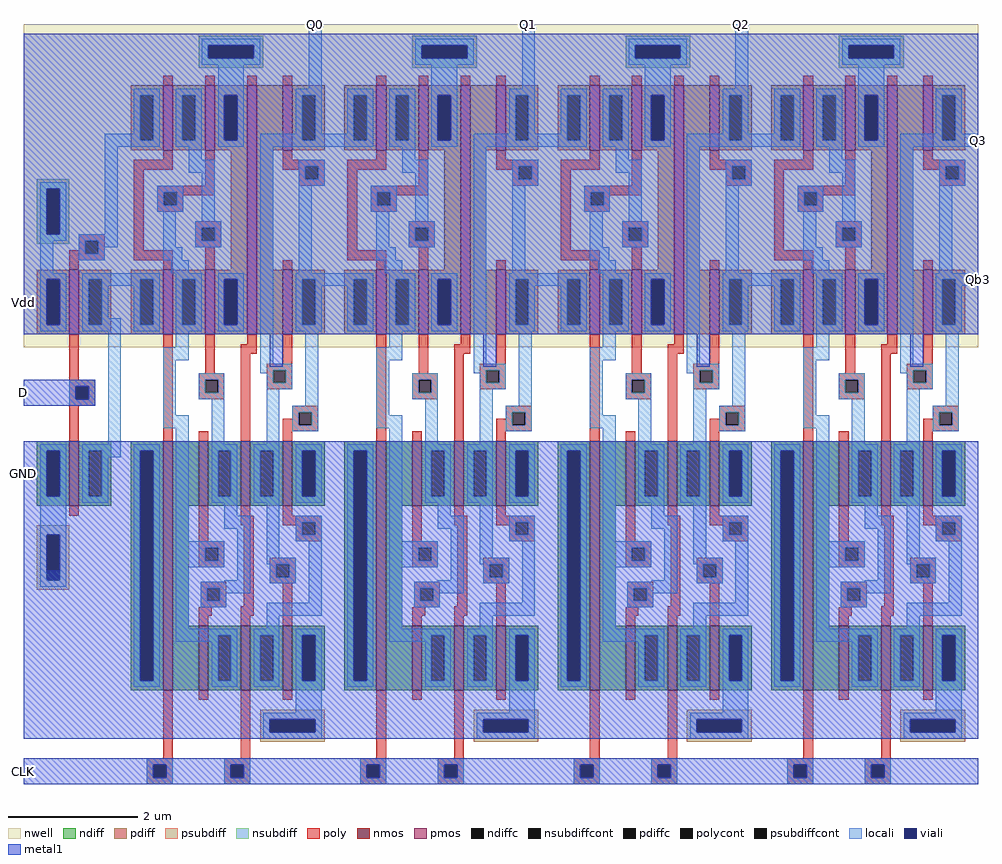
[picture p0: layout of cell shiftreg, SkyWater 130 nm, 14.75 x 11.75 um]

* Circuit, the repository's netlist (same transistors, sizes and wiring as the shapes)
* NGSPICE file created from shiftreg.ext - technology: sky130A

.subckt inverter A Y VP VN
X0 Y A VN VN sky130_fd_pr__nfet_01v8 ad=0.5 pd=3 as=0.5 ps=3 w=1 l=0.15
X1 Y A VP VP sky130_fd_pr__pfet_01v8 ad=0.5 pd=3 as=0.5 ps=3 w=1 l=0.15
.ends

.subckt flipflop D Db CLK Q Qb VP VN
X0 a_212_430# a_260_620# a_260_n1050# VN sky130_fd_pr__nfet_01v8 ad=0.25 pd=1.5 as=0.421 ps=2.93 w=1 l=0.15
X1 VP a_260_620# a_212_430# VP sky130_fd_pr__pfet_01v8 ad=0.488 pd=3.07 as=0.25 ps=1.5 w=1 l=0.15
X2 Qb CLK a_212_430# VN sky130_fd_pr__nfet_01v8 ad=0.25 pd=1.5 as=0.25 ps=1.5 w=1 l=0.15
X3 Qb Q a_520_50# VP sky130_fd_pr__pfet_01v8 ad=0.5 pd=3 as=0.421 ps=2.93 w=1 l=0.15
X4 a_260_n1050# CLK VN VN sky130_fd_pr__nfet_01v8 ad=0.421 pd=2.93 as=1.92 ps=8.7 w=3.85 l=0.15
X5 Q CLK a_260_620# VN sky130_fd_pr__nfet_01v8 ad=0.25 pd=1.5 as=0.25 ps=1.5 w=1 l=0.15
X6 a_520_50# CLK VP VP sky130_fd_pr__pfet_01v8 ad=0.421 pd=2.93 as=0.488 ps=3.07 w=3.85 l=0.15
X7 Q Qb a_520_50# VP sky130_fd_pr__pfet_01v8 ad=0.5 pd=3 as=0.421 ps=2.93 w=1 l=0.15
X8 a_260_620# a_212_430# a_260_n1050# VN sky130_fd_pr__nfet_01v8 ad=0.25 pd=1.5 as=0.421 ps=2.93 w=1 l=0.15
X9 VN Q Qb VN sky130_fd_pr__nfet_01v8 ad=0.5 pd=3 as=0.25 ps=1.5 w=1 l=0.15
X10 VP a_212_430# a_260_620# VP sky130_fd_pr__pfet_01v8 ad=0.488 pd=3.07 as=0.25 ps=1.5 w=1 l=0.15
X11 a_260_620# CLK D VP sky130_fd_pr__pfet_01v8 ad=0.25 pd=1.5 as=0.5 ps=3 w=1 l=0.15
X12 a_212_430# CLK Db VP sky130_fd_pr__pfet_01v8 ad=0.25 pd=1.5 as=0.5 ps=3 w=1 l=0.15
X13 VN Qb Q VN sky130_fd_pr__nfet_01v8 ad=0.5 pd=3 as=0.25 ps=1.5 w=1 l=0.15
.ends


* Top level circuit shiftreg

Xinverter_0 inverter_0/A inverter_0/Y inverter_0/VP VSUBS inverter
Xflipflop_0 Q2 flipflop_3/Qb CLK flipflop_0/Q flipflop_0/Qb inverter_0/VP VSUBS flipflop
Xflipflop_1 inverter_0/A inverter_0/Y CLK Q0 flipflop_2/Db inverter_0/VP VSUBS flipflop
Xflipflop_2 Q0 flipflop_2/Db CLK Q1 flipflop_3/Db inverter_0/VP VSUBS flipflop
Xflipflop_3 Q1 flipflop_3/Db CLK Q2 flipflop_3/Qb inverter_0/VP VSUBS flipflop
.end

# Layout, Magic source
magic
tech sky130A
<< nwell >>
rect -145 955 0 1175
<< locali >>
rect 295 1070 315 1175
rect 625 1075 645 1175
rect 955 1075 975 1175
rect -20 830 0 1005
rect -15 770 0 790
<< metal1 >>
rect -145 955 0 1160
rect -145 70 0 330
rect -145 0 5 40
use flipflop  flipflop_0 ~/documents/madvlsi/madvlsi-fa23/mp2/layout
transform 1 0 945 0 1 670
box 45 -670 385 505
use flipflop  flipflop_1
transform 1 0 -45 0 1 670
box 45 -670 385 505
use flipflop  flipflop_2
transform 1 0 285 0 1 670
box 45 -670 385 505
use flipflop  flipflop_3
transform 1 0 615 0 1 670
box 45 -670 385 505
use inverter  inverter_0
transform 1 0 -75 0 1 430
box -70 -130 85 525
<< labels >>
rlabel space -145 605 -145 605 7 D
rlabel space -145 480 -145 480 7 GND
rlabel metal1 -145 20 -145 20 7 CLK
rlabel space -145 745 -145 745 7 Vdd
rlabel locali 305 1175 305 1175 1 Q0
rlabel locali 635 1175 635 1175 1 Q1
rlabel locali 965 1175 965 1175 1 Q2
rlabel space 1330 995 1330 995 3 Q3
rlabel space 1330 780 1330 780 3 Qb3
<< end >>

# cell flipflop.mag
magic
tech sky130A
<< nwell >>
rect 45 5 385 505
<< nmos >>
rect 115 -525 130 -140
rect 170 -240 185 -140
rect 235 -240 250 -140
rect 300 -240 315 -140
rect 170 -525 185 -425
rect 235 -525 250 -425
rect 300 -525 315 -425
<< pmos >>
rect 115 310 130 410
rect 180 310 195 410
rect 115 25 130 125
rect 180 25 195 125
rect 245 25 260 410
rect 300 310 315 410
rect 300 25 315 125
<< ndiff >>
rect 65 -155 115 -140
rect 65 -510 80 -155
rect 100 -510 115 -155
rect 65 -525 115 -510
rect 130 -240 170 -140
rect 185 -155 235 -140
rect 185 -225 200 -155
rect 220 -225 235 -155
rect 185 -240 235 -225
rect 250 -155 300 -140
rect 250 -225 265 -155
rect 285 -225 300 -155
rect 250 -240 300 -225
rect 315 -155 365 -140
rect 315 -225 330 -155
rect 350 -225 365 -155
rect 315 -240 365 -225
rect 130 -425 155 -240
rect 130 -525 170 -425
rect 185 -440 235 -425
rect 185 -510 200 -440
rect 220 -510 235 -440
rect 185 -525 235 -510
rect 250 -440 300 -425
rect 250 -510 265 -440
rect 285 -510 300 -440
rect 250 -525 300 -510
rect 315 -440 365 -425
rect 315 -510 330 -440
rect 350 -510 365 -440
rect 315 -525 365 -510
<< pdiff >>
rect 65 395 115 410
rect 65 325 80 395
rect 100 325 115 395
rect 65 310 115 325
rect 130 395 180 410
rect 130 325 145 395
rect 165 325 180 395
rect 130 310 180 325
rect 195 395 245 410
rect 195 325 210 395
rect 230 325 245 395
rect 195 310 245 325
rect 220 125 245 310
rect 65 110 115 125
rect 65 40 80 110
rect 100 40 115 110
rect 65 25 115 40
rect 130 110 180 125
rect 130 40 145 110
rect 165 40 180 110
rect 130 25 180 40
rect 195 110 245 125
rect 195 40 210 110
rect 230 40 245 110
rect 195 25 245 40
rect 260 310 300 410
rect 315 395 365 410
rect 315 325 330 395
rect 350 325 365 395
rect 315 310 365 325
rect 260 125 285 310
rect 260 25 300 125
rect 315 110 365 125
rect 315 40 330 110
rect 350 40 365 110
rect 315 25 365 40
<< ndiffc >>
rect 80 -510 100 -155
rect 200 -225 220 -155
rect 265 -225 285 -155
rect 330 -225 350 -155
rect 200 -510 220 -440
rect 265 -510 285 -440
rect 330 -510 350 -440
<< pdiffc >>
rect 80 325 100 395
rect 145 325 165 395
rect 210 325 230 395
rect 80 40 100 110
rect 145 40 165 110
rect 210 40 230 110
rect 330 325 350 395
rect 330 40 350 110
<< psubdiff >>
rect 265 -570 365 -555
rect 265 -590 280 -570
rect 350 -590 365 -570
rect 265 -605 365 -590
<< nsubdiff >>
rect 170 472 270 487
rect 170 452 185 472
rect 255 452 270 472
rect 170 437 270 452
<< psubdiffcont >>
rect 280 -590 350 -570
<< nsubdiffcont >>
rect 185 452 255 472
<< poly >>
rect 115 410 130 425
rect 180 410 195 425
rect 245 410 260 425
rect 300 410 315 425
rect 115 295 130 310
rect 70 280 130 295
rect 70 155 85 280
rect 180 255 195 310
rect 106 245 195 255
rect 106 225 116 245
rect 136 240 195 245
rect 136 225 146 240
rect 106 215 146 225
rect 165 190 205 200
rect 165 170 175 190
rect 195 170 205 190
rect 165 160 205 170
rect 70 140 130 155
rect 115 125 130 140
rect 180 125 195 160
rect 300 295 315 310
rect 300 285 365 295
rect 300 280 335 285
rect 325 265 335 280
rect 355 265 365 285
rect 325 255 365 265
rect 300 125 315 140
rect 115 -140 130 25
rect 180 -35 195 25
rect 245 10 260 25
rect 235 -5 260 10
rect 170 -45 210 -35
rect 170 -65 180 -45
rect 200 -65 210 -45
rect 170 -75 210 -65
rect 170 -140 185 -125
rect 235 -140 250 -5
rect 300 -20 315 25
rect 275 -30 315 -20
rect 275 -50 285 -30
rect 305 -50 315 -30
rect 275 -60 315 -50
rect 315 -95 355 -85
rect 315 -105 325 -95
rect 300 -115 325 -105
rect 345 -115 355 -95
rect 300 -125 355 -115
rect 300 -140 315 -125
rect 170 -295 185 -240
rect 235 -255 250 -240
rect 300 -255 315 -240
rect 235 -270 255 -255
rect 300 -265 360 -255
rect 300 -270 330 -265
rect 170 -305 210 -295
rect 170 -325 180 -305
rect 200 -325 210 -305
rect 170 -335 210 -325
rect 173 -367 213 -357
rect 173 -387 183 -367
rect 203 -387 213 -367
rect 173 -397 213 -387
rect 240 -395 255 -270
rect 320 -285 330 -270
rect 350 -285 360 -265
rect 320 -295 360 -285
rect 280 -330 320 -320
rect 280 -350 290 -330
rect 310 -350 320 -330
rect 280 -360 320 -350
rect 170 -410 190 -397
rect 235 -410 255 -395
rect 170 -425 185 -410
rect 235 -425 250 -410
rect 300 -425 315 -360
rect 115 -630 130 -525
rect 170 -540 185 -525
rect 235 -630 250 -525
rect 300 -540 315 -525
rect 90 -640 130 -630
rect 90 -660 100 -640
rect 120 -660 130 -640
rect 90 -670 130 -660
rect 210 -640 250 -630
rect 210 -660 220 -640
rect 240 -660 250 -640
rect 210 -670 250 -660
<< polycont >>
rect 116 225 136 245
rect 175 170 195 190
rect 335 265 355 285
rect 180 -65 200 -45
rect 285 -50 305 -30
rect 325 -115 345 -95
rect 180 -325 200 -305
rect 183 -387 203 -367
rect 330 -285 350 -265
rect 290 -350 310 -330
rect 100 -660 120 -640
rect 220 -660 240 -640
<< locali >>
rect 175 472 265 482
rect 175 452 185 472
rect 255 452 265 472
rect 175 442 265 452
rect 70 395 110 405
rect 70 335 80 395
rect 45 325 80 335
rect 100 325 110 395
rect 45 315 110 325
rect 135 395 175 405
rect 135 325 145 395
rect 165 325 175 395
rect 135 315 175 325
rect 200 395 240 442
rect 200 325 210 395
rect 230 325 240 395
rect 320 395 360 405
rect 320 335 330 395
rect 200 315 240 325
rect 265 325 330 335
rect 350 335 360 395
rect 350 325 385 335
rect 265 315 385 325
rect 155 295 175 315
rect 155 275 195 295
rect 106 245 146 255
rect 106 225 116 245
rect 136 225 146 245
rect 106 215 146 225
rect 115 160 135 215
rect 175 200 195 275
rect 165 190 205 200
rect 165 170 175 190
rect 195 170 205 190
rect 165 160 205 170
rect 115 140 145 160
rect 128 120 155 140
rect 45 110 110 120
rect 45 100 80 110
rect 70 40 80 100
rect 100 40 110 110
rect 70 30 110 40
rect 135 110 175 120
rect 135 40 145 110
rect 165 40 175 110
rect 135 30 175 40
rect 200 110 240 120
rect 200 40 210 110
rect 230 40 240 110
rect 200 30 240 40
rect 135 5 155 30
rect 115 -15 155 5
rect 115 -100 135 -15
rect 265 -20 285 315
rect 325 285 365 295
rect 325 265 335 285
rect 355 265 365 285
rect 325 255 365 265
rect 325 120 345 255
rect 320 110 385 120
rect 320 40 330 110
rect 350 100 385 110
rect 350 40 360 100
rect 320 30 360 40
rect 265 -30 315 -20
rect 265 -35 285 -30
rect 170 -45 210 -35
rect 170 -65 180 -45
rect 200 -65 210 -45
rect 170 -75 210 -65
rect 115 -120 155 -100
rect 70 -155 110 -145
rect 70 -510 80 -155
rect 100 -510 110 -155
rect 135 -295 155 -120
rect 190 -145 210 -75
rect 275 -50 285 -35
rect 305 -50 315 -30
rect 275 -60 315 -50
rect 275 -145 295 -60
rect 335 -85 355 30
rect 315 -95 355 -85
rect 315 -115 325 -95
rect 345 -115 355 -95
rect 315 -125 355 -115
rect 190 -155 230 -145
rect 190 -225 200 -155
rect 220 -225 230 -155
rect 190 -235 230 -225
rect 255 -155 295 -145
rect 255 -225 265 -155
rect 285 -225 295 -155
rect 255 -235 295 -225
rect 320 -155 360 -145
rect 320 -225 330 -155
rect 350 -225 360 -155
rect 320 -235 360 -225
rect 210 -255 230 -235
rect 210 -275 250 -255
rect 135 -305 210 -295
rect 135 -325 180 -305
rect 200 -325 210 -305
rect 135 -335 210 -325
rect 135 -430 155 -335
rect 230 -355 250 -275
rect 275 -320 295 -235
rect 320 -265 360 -255
rect 320 -285 330 -265
rect 350 -285 360 -265
rect 320 -295 360 -285
rect 275 -330 320 -320
rect 210 -357 250 -355
rect 173 -367 250 -357
rect 280 -350 290 -330
rect 310 -350 320 -330
rect 280 -360 320 -350
rect 173 -387 183 -367
rect 203 -375 250 -367
rect 203 -387 213 -375
rect 173 -397 213 -387
rect 340 -390 360 -295
rect 275 -410 360 -390
rect 275 -430 295 -410
rect 135 -440 230 -430
rect 135 -450 200 -440
rect 70 -520 110 -510
rect 190 -510 200 -450
rect 220 -510 230 -440
rect 190 -520 230 -510
rect 255 -440 295 -430
rect 255 -510 265 -440
rect 285 -510 295 -440
rect 255 -520 295 -510
rect 320 -440 360 -430
rect 320 -510 330 -440
rect 350 -510 360 -440
rect 320 -560 360 -510
rect 270 -570 360 -560
rect 270 -590 280 -570
rect 350 -590 360 -570
rect 270 -600 360 -590
rect 90 -640 130 -630
rect 90 -660 100 -640
rect 120 -660 130 -640
rect 90 -670 130 -660
rect 210 -640 250 -630
rect 210 -660 220 -640
rect 240 -660 250 -640
rect 210 -670 250 -660
<< viali >>
rect 185 452 255 472
rect 210 325 230 395
rect 210 40 230 110
rect 80 -510 100 -155
rect 330 -225 350 -155
rect 330 -510 350 -440
rect 280 -590 350 -570
rect 100 -660 120 -640
rect 220 -660 240 -640
<< metal1 >>
rect 45 472 385 490
rect 45 452 185 472
rect 255 452 385 472
rect 45 395 385 452
rect 45 325 210 395
rect 230 325 385 395
rect 45 110 385 325
rect 45 40 210 110
rect 230 40 385 110
rect 45 25 385 40
rect 280 -25 300 25
rect 45 -155 385 -140
rect 45 -510 80 -155
rect 100 -225 330 -155
rect 350 -225 385 -155
rect 100 -440 385 -225
rect 100 -510 330 -440
rect 350 -510 385 -440
rect 45 -570 385 -510
rect 45 -590 280 -570
rect 350 -590 385 -570
rect 45 -600 385 -590
rect 45 -640 385 -630
rect 45 -660 100 -640
rect 120 -660 220 -640
rect 240 -660 385 -640
rect 45 -670 385 -660
<< labels >>
rlabel metal1 45 465 45 465 7 VP
port 6 w
rlabel locali 45 325 45 325 7 D
port 1 w
rlabel locali 45 110 45 110 7 Db
port 2 w
rlabel metal1 45 -580 45 -580 7 VN
port 7 w
rlabel metal1 45 -650 45 -650 7 CLK
port 3 w
rlabel locali 385 325 385 325 3 Q
port 4 e
rlabel locali 385 110 385 110 3 Qb
port 5 e
<< end >>

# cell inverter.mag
magic
tech sky130A
<< nwell >>
rect -70 245 85 525
<< nmos >>
rect 0 0 15 100
<< pmos >>
rect 0 265 15 365
<< ndiff >>
rect -50 85 0 100
rect -50 15 -35 85
rect -15 15 0 85
rect -50 0 0 15
rect 15 85 65 100
rect 15 15 30 85
rect 50 15 65 85
rect 15 0 65 15
<< pdiff >>
rect -50 350 0 365
rect -50 280 -35 350
rect -15 280 0 350
rect -50 265 0 280
rect 15 350 65 365
rect 15 280 30 350
rect 50 280 65 350
rect 15 265 65 280
<< ndiffc >>
rect -35 15 -15 85
rect 30 15 50 85
<< pdiffc >>
rect -35 280 -15 350
rect 30 280 50 350
<< psubdiff >>
rect -50 -45 0 -30
rect -50 -115 -35 -45
rect -15 -115 0 -45
rect -50 -130 0 -115
<< nsubdiff >>
rect -50 490 0 505
rect -50 420 -35 490
rect -15 420 0 490
rect -50 405 0 420
<< psubdiffcont >>
rect -35 -115 -15 -45
<< nsubdiffcont >>
rect -35 420 -15 490
<< poly >>
rect 15 410 55 420
rect 15 395 25 410
rect 0 390 25 395
rect 45 390 55 410
rect 0 380 55 390
rect 0 365 15 380
rect 0 195 15 265
rect 0 185 40 195
rect 0 165 10 185
rect 30 165 40 185
rect 0 155 40 165
rect 0 100 15 155
rect 0 -15 15 0
<< polycont >>
rect 25 390 45 410
rect 10 165 30 185
<< locali >>
rect -45 490 -5 500
rect -45 420 -35 490
rect -15 420 -5 490
rect -45 410 -5 420
rect 15 410 55 420
rect -45 360 -25 410
rect 15 390 25 410
rect 45 390 55 410
rect 15 380 55 390
rect -45 350 -5 360
rect -45 280 -35 350
rect -15 280 -5 350
rect -45 270 -5 280
rect 20 350 60 360
rect 20 280 30 350
rect 50 290 60 350
rect 50 280 80 290
rect 20 270 80 280
rect 0 185 40 195
rect 0 165 10 185
rect 30 165 40 185
rect 0 155 40 165
rect 60 95 80 270
rect -45 85 -5 95
rect -45 15 -35 85
rect -15 15 -5 85
rect -45 -45 -5 15
rect 20 85 80 95
rect 20 15 30 85
rect 50 75 80 85
rect 50 15 60 75
rect 20 5 60 15
rect -45 -115 -35 -45
rect -15 -115 -5 -45
rect -45 -125 -5 -115
<< viali >>
rect -35 420 -15 490
rect -35 280 -15 350
rect 10 165 30 185
rect -35 15 -15 85
rect -35 -115 -15 -45
<< metal1 >>
rect -70 490 85 525
rect -70 420 -35 490
rect -15 420 85 490
rect -70 350 85 420
rect -70 280 -35 350
rect -15 280 85 350
rect -70 265 85 280
rect -70 185 40 195
rect -70 165 10 185
rect 30 165 40 185
rect -70 155 40 165
rect -70 85 85 100
rect -70 15 -35 85
rect -15 15 85 85
rect -70 -45 85 15
rect -70 -115 -35 -45
rect -15 -115 85 -45
rect -70 -130 85 -115
<< labels >>
rlabel metal1 -70 -80 -70 -80 7 VN
port 4 w
rlabel metal1 -70 175 -70 175 7 A
port 1 w
rlabel metal1 -70 315 -70 315 7 VP
port 3 w
rlabel locali 80 175 80 175 3 Y
port 2 e
<< end >>
